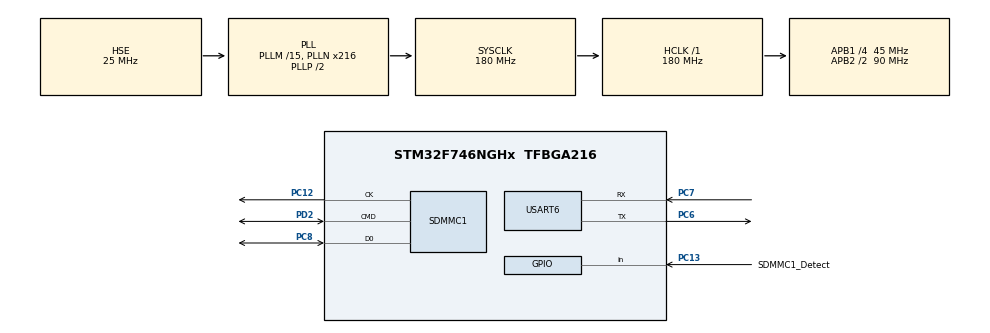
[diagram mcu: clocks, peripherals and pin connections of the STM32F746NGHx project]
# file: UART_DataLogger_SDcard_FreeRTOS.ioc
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Dma.Request0=SDMMC1_RX
Dma.Request1=SDMMC1_TX
Dma.SDMMC1_RX.0.Direction=DMA_PERIPH_TO_MEMORY
Dma.SDMMC1_RX.0.FIFOMode=DMA_FIFOMODE_ENABLE
Dma.SDMMC1_RX.0.FIFOThreshold=DMA_FIFO_THRESHOLD_FULL
Dma.SDMMC1_RX.0.Instance=DMA2_Stream3
Dma.SDMMC1_RX.0.MemBurst=DMA_MBURST_INC4
Dma.SDMMC1_RX.0.MemDataAlignment=DMA_MDATAALIGN_WORD
Dma.SDMMC1_RX.0.MemInc=DMA_MINC_ENABLE
Dma.SDMMC1_RX.0.Mode=DMA_PFCTRL
Dma.SDMMC1_RX.0.PeriphBurst=DMA_PBURST_INC4
Dma.SDMMC1_RX.0.PeriphDataAlignment=DMA_PDATAALIGN_WORD
Dma.SDMMC1_RX.0.PeriphInc=DMA_PINC_DISABLE
Dma.SDMMC1_RX.0.Priority=DMA_PRIORITY_LOW
Dma.SDMMC1_TX.1.Direction=DMA_MEMORY_TO_PERIPH
Dma.SDMMC1_TX.1.FIFOMode=DMA_FIFOMODE_ENABLE
Dma.SDMMC1_TX.1.FIFOThreshold=DMA_FIFO_THRESHOLD_FULL
Dma.SDMMC1_TX.1.Instance=DMA2_Stream6
Dma.SDMMC1_TX.1.MemBurst=DMA_MBURST_INC4
Dma.SDMMC1_TX.1.MemDataAlignment=DMA_MDATAALIGN_WORD
Dma.SDMMC1_TX.1.MemInc=DMA_MINC_ENABLE
Dma.SDMMC1_TX.1.Mode=DMA_PFCTRL
Dma.SDMMC1_TX.1.PeriphBurst=DMA_PBURST_INC4
Dma.SDMMC1_TX.1.PeriphDataAlignment=DMA_PDATAALIGN_WORD
Dma.SDMMC1_TX.1.PeriphInc=DMA_PINC_DISABLE
Dma.SDMMC1_TX.1.Priority=DMA_PRIORITY_LOW
FATFS.BSP.number=1
FATFS._MAX_SS=4096
FATFS0.BSP.STBoard=false
FATFS0.BSP.api=Unknown
FATFS0.BSP.instance=PC13
FATFS0.BSP.ip=GPIO
FATFS0.BSP.mode=Input
FATFS0.BSP.name=Detect_SDIO
FATFS0.BSP.solution=PC13
FREERTOS.Tasks01=defaultTask,0,1024,StartDefaultTask,Default,NULL,Dynamic,NULL,NULL
FREERTOS.configUSE_NEWLIB_REENTRANT=1
Mcu.Family=STM32F7
Mcu.Name=STM32F746NGHx
Mcu.Package=TFBGA216
NVIC.DMA2_Stream3_IRQn=true\:5\:0\:false\:false\:true\:true\:false\:true\:true
NVIC.DMA2_Stream6_IRQn=true\:5\:0\:false\:false\:true\:true\:false\:true\:true
NVIC.PriorityGroup=NVIC_PRIORITYGROUP_4
NVIC.SDMMC1_IRQn=true\:5\:0\:false\:false\:true\:true\:true\:true\:true
NVIC.TIM6_DAC_IRQn=true\:15\:0\:false\:false\:true\:false\:false\:true\:true
NVIC.TimeBase=TIM6_DAC_IRQn
NVIC.TimeBaseIP=TIM6
NVIC.USART6_IRQn=true\:5\:0\:false\:false\:true\:true\:true\:true\:true
PA13.Mode=Serial_Wire
PA13.Signal=SYS_JTMS-SWDIO
PA14.Mode=Serial_Wire
PA14.Signal=SYS_JTCK-SWCLK
PC12.Mode=SD_1_bit
PC12.Signal=SDMMC1_CK
PC13.GPIO_Label=SDMMC1_Detect
PC13.Signal=GPIO_Input
PC6.Mode=Asynchronous
PC6.Signal=USART6_TX
PC7.Mode=Asynchronous
PC7.Signal=USART6_RX
PC8.Mode=SD_1_bit
PC8.Signal=SDMMC1_D0
PD2.Mode=SD_1_bit
PD2.Signal=SDMMC1_CMD
PH0/OSC_IN.Mode=HSE-External-Oscillator
PH0/OSC_IN.Signal=RCC_OSC_IN
PH1/OSC_OUT.Mode=HSE-External-Oscillator
PH1/OSC_OUT.Signal=RCC_OSC_OUT
ProjectManager.HeapSize=0x2000
ProjectManager.StackSize=0x4000
ProjectManager.TargetToolchain=STM32CubeIDE
RCC.AHBFreq_Value=180000000
RCC.APB1CLKDivider=RCC_HCLK_DIV4
RCC.APB1Freq_Value=45000000
RCC.APB1TimFreq_Value=90000000
RCC.APB2CLKDivider=RCC_HCLK_DIV2
RCC.APB2Freq_Value=90000000
RCC.APB2TimFreq_Value=180000000
RCC.CortexFreq_Value=180000000
RCC.HCLKFreq_Value=180000000
RCC.HSE_VALUE=25000000
RCC.HSI_VALUE=16000000
RCC.LSE_VALUE=32768
RCC.PLLM=15
RCC.PLLN=216
RCC.PLLQ=15
RCC.PLLSourceVirtual=RCC_PLLSOURCE_HSE
RCC.SDMMCClockSelection=RCC_SDMMC1CLKSOURCE_CLK48
RCC.SYSCLKFreq_VALUE=180000000
RCC.SYSCLKSource=RCC_SYSCLKSOURCE_PLLCLK
RCC.USBFreq_Value=24000000
RCC.VCOOutputFreq_Value=360000000
USART6.VirtualMode-Asynchronous=VM_ASYNC
VP_FATFS_VS_SDIO.Mode=SDIO
VP_FREERTOS_VS_CMSIS_V1.Mode=CMSIS_V1
VP_SYS_VS_tim6.Mode=TIM6
board=custom

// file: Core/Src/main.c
/* USER CODE BEGIN Header */
/**
  ******************************************************************************
  * @file           : main.c
  * @brief          : Main program body
  ******************************************************************************
  * @attention
  *
  * Copyright (c) 2025 STMicroelectronics.
  * All rights reserved.
  *
  * This software is licensed under terms that can be found in the LICENSE file
  * in the root directory of this software component.
  * If no LICENSE file comes with this software, it is provided AS-IS.
  *
  ******************************************************************************
  */
/* USER CODE END Header */
#include "main.h"
#include "cmsis_os.h"
#include "fatfs.h"

/* USER CODE BEGIN Includes */
#include "SDCard_Configuration.h"
#include "stdio.h"
#include "string.h"
#include "stdbool.h"
/* USER CODE END Includes */

/* USER CODE BEGIN PTD */
typedef struct
{
	uint8_t* buffer;
	size_t size;
	size_t count;
	size_t head;
	size_t tail;
}FIFO_t;
/* USER CODE END PTD */

/* USER CODE BEGIN PD */
#define BUFFER_SIZE					200
/* USER CODE END PD */

SD_HandleTypeDef hsd1;
DMA_HandleTypeDef hdma_sdmmc1_rx;
DMA_HandleTypeDef hdma_sdmmc1_tx;

UART_HandleTypeDef huart6;

osThreadId defaultTaskHandle;
/* USER CODE BEGIN PV */
osThreadId 	 mainTaskHandle;
osThreadId 	 recordTaskHandle;

xSemaphoreHandle recDataSemaphore;
xSemaphoreHandle recordDataSemaphore;

uint8_t count = 0;
char sd_buffer[100];

uint8_t uart_rec = 0;
uint8_t uart_recCount = 0;
uint8_t uart_recBuffer[BUFFER_SIZE];

FIFO_t fifo;
uint8_t dxlBuffer[BUFFER_SIZE];
uint8_t dxlLog[BUFFER_SIZE];
/* USER CODE END PV */

void SystemClock_Config(void);
static void MX_GPIO_Init(void);
static void MX_DMA_Init(void);
static void MX_SDMMC1_SD_Init(void);
static void MX_USART6_UART_Init(void);
void StartDefaultTask(void const * argument);

/* USER CODE BEGIN PFP */
void StartMainTask(void const * argument);
void StartRecordTask(void const * argument);

void FIFO_init(FIFO_t* fifo);
bool FIFO_isEmpty(const FIFO_t* fifo);
bool FIFO_isFull(const FIFO_t* fifo);
bool FIFO_Enqueue(FIFO_t* fifo, uint8_t* data, uint8_t size);
bool FIFO_Dequeue(FIFO_t* fifo, uint8_t* data, uint8_t size);
uint8_t DXL_CheckSumCalc(uint8_t *packet);
/* USER CODE END PFP */

/* USER CODE BEGIN 0 */
int _write(int file, char *ptr, int len)
{
	int i = 0;
	for(i = 0; i < len; i++)
	{
		ITM_SendChar(*ptr++);
	}
	return len;
}
/* USER CODE END 0 */

int main(void)
{

  /* MCU Configuration--------------------------------------------------------*/

  /* Reset of all peripherals, Initializes the Flash interface and the Systick. */
  HAL_Init();

  /* Configure the system clock */
  SystemClock_Config();

  /* Initialize all configured peripherals */
  MX_GPIO_Init();
  MX_DMA_Init();
  MX_SDMMC1_SD_Init();
  MX_FATFS_Init();
  MX_USART6_UART_Init();
  /* USER CODE BEGIN 2 */

  HAL_UART_Receive_IT(&huart6, &uart_rec, 1);

  FIFO_init(&fifo);
  /* USER CODE END 2 */

  /* USER CODE BEGIN RTOS_SEMAPHORES */
  /* add semaphores, ... */
  recDataSemaphore = xSemaphoreCreateBinary();
  recordDataSemaphore = xSemaphoreCreateBinary();
  /* USER CODE END RTOS_SEMAPHORES */

  /* Create the thread(s) */
  /* definition and creation of defaultTask */
//  osThreadDef(defaultTask, StartDefaultTask, osPriorityNormal, 0, 1024);
//  defaultTaskHandle = osThreadCreate(osThread(defaultTask), NULL);

  /* USER CODE BEGIN RTOS_THREADS */
  /* add threads, ... */
  osThreadDef(mainTask, StartMainTask, osPriorityNormal, 0, 1024);
  mainTaskHandle = osThreadCreate(osThread(mainTask), NULL);

  osThreadDef(recordTask, StartRecordTask, osPriorityNormal, 0, 1024);
  recordTaskHandle = osThreadCreate(osThread(recordTask), NULL);
  /* USER CODE END RTOS_THREADS */

  /* Start scheduler */
  osKernelStart();

  /* We should never get here as control is now taken by the scheduler */

  /* Infinite loop */
  while (1)
  {

    /* USER CODE BEGIN 3 */
//	  count++;
//	  printf("Hello count = %d \n", count);
//	  HAL_Delay(1000);
  }
  /* USER CODE END 3 */
}

void SystemClock_Config(void)
{
  RCC_OscInitTypeDef RCC_OscInitStruct = {0};
  RCC_ClkInitTypeDef RCC_ClkInitStruct = {0};

  /** Configure the main internal regulator output voltage
  */
  __HAL_RCC_PWR_CLK_ENABLE();
  __HAL_PWR_VOLTAGESCALING_CONFIG(PWR_REGULATOR_VOLTAGE_SCALE1);

  /** Initializes the RCC Oscillators according to the specified parameters
  * in the RCC_OscInitTypeDef structure.
  */
  RCC_OscInitStruct.OscillatorType = RCC_OSCILLATORTYPE_HSE;
  RCC_OscInitStruct.HSEState = RCC_HSE_ON;
  RCC_OscInitStruct.PLL.PLLState = RCC_PLL_ON;
  RCC_OscInitStruct.PLL.PLLSource = RCC_PLLSOURCE_HSE;
  RCC_OscInitStruct.PLL.PLLM = 15;
  RCC_OscInitStruct.PLL.PLLN = 216;
  RCC_OscInitStruct.PLL.PLLP = RCC_PLLP_DIV2;
  RCC_OscInitStruct.PLL.PLLQ = 15;
  if (HAL_RCC_OscConfig(&RCC_OscInitStruct) != HAL_OK)
  {
    Error_Handler();
  }

  /** Initializes the CPU, AHB and APB buses clocks
  */
  RCC_ClkInitStruct.ClockType = RCC_CLOCKTYPE_HCLK|RCC_CLOCKTYPE_SYSCLK
                              |RCC_CLOCKTYPE_PCLK1|RCC_CLOCKTYPE_PCLK2;
  RCC_ClkInitStruct.SYSCLKSource = RCC_SYSCLKSOURCE_PLLCLK;
  RCC_ClkInitStruct.AHBCLKDivider = RCC_SYSCLK_DIV1;
  RCC_ClkInitStruct.APB1CLKDivider = RCC_HCLK_DIV4;
  RCC_ClkInitStruct.APB2CLKDivider = RCC_HCLK_DIV2;

  if (HAL_RCC_ClockConfig(&RCC_ClkInitStruct, FLASH_LATENCY_5) != HAL_OK)
  {
    Error_Handler();
  }
}

static void MX_SDMMC1_SD_Init(void)
{

  hsd1.Instance = SDMMC1;
  hsd1.Init.ClockEdge = SDMMC_CLOCK_EDGE_RISING;
  hsd1.Init.ClockBypass = SDMMC_CLOCK_BYPASS_DISABLE;
  hsd1.Init.ClockPowerSave = SDMMC_CLOCK_POWER_SAVE_DISABLE;
  hsd1.Init.BusWide = SDMMC_BUS_WIDE_1B;
  hsd1.Init.HardwareFlowControl = SDMMC_HARDWARE_FLOW_CONTROL_DISABLE;
  hsd1.Init.ClockDiv = 0;

}

static void MX_USART6_UART_Init(void)
{

  huart6.Instance = USART6;
  huart6.Init.BaudRate = 115200;
  huart6.Init.WordLength = UART_WORDLENGTH_8B;
  huart6.Init.StopBits = UART_STOPBITS_1;
  huart6.Init.Parity = UART_PARITY_NONE;
  huart6.Init.Mode = UART_MODE_TX_RX;
  huart6.Init.HwFlowCtl = UART_HWCONTROL_NONE;
  huart6.Init.OverSampling = UART_OVERSAMPLING_16;
  huart6.Init.OneBitSampling = UART_ONE_BIT_SAMPLE_DISABLE;
  huart6.AdvancedInit.AdvFeatureInit = UART_ADVFEATURE_NO_INIT;
  if (HAL_UART_Init(&huart6) != HAL_OK)
  {
    Error_Handler();
  }

}

static void MX_DMA_Init(void)
{

  /* DMA controller clock enable */
  __HAL_RCC_DMA2_CLK_ENABLE();

  /* DMA interrupt init */
  /* DMA2_Stream3_IRQn interrupt configuration */
  HAL_NVIC_SetPriority(DMA2_Stream3_IRQn, 5, 0);
  HAL_NVIC_EnableIRQ(DMA2_Stream3_IRQn);
  /* DMA2_Stream6_IRQn interrupt configuration */
  HAL_NVIC_SetPriority(DMA2_Stream6_IRQn, 5, 0);
  HAL_NVIC_EnableIRQ(DMA2_Stream6_IRQn);

}

static void MX_GPIO_Init(void)
{
  GPIO_InitTypeDef GPIO_InitStruct = {0};

  /* GPIO Ports Clock Enable */
  __HAL_RCC_GPIOC_CLK_ENABLE();
  __HAL_RCC_GPIOA_CLK_ENABLE();
  __HAL_RCC_GPIOD_CLK_ENABLE();
  __HAL_RCC_GPIOH_CLK_ENABLE();

  /*Configure GPIO pin : SDMMC1_Detect_Pin */
  GPIO_InitStruct.Pin = SDMMC1_Detect_Pin;
  GPIO_InitStruct.Mode = GPIO_MODE_INPUT;
  GPIO_InitStruct.Pull = GPIO_NOPULL;
  HAL_GPIO_Init(SDMMC1_Detect_GPIO_Port, &GPIO_InitStruct);

}

/* USER CODE BEGIN 4 */
void HAL_UART_RxCpltCallback(UART_HandleTypeDef *huart)
{
	if(HAL_UART_Receive_IT(&huart6, &uart_rec, 1) == HAL_OK)
	{
		osSemaphoreRelease(recDataSemaphore);
	}
}
//<---- -------------------------------------------------------- ---->

void FIFO_init(FIFO_t* fifo)
{
	fifo->head = 0;
	fifo->tail = 0;
	fifo->count = 0;
}
//<---- -------------------------------------------------------- ---->

bool FIFO_isEmpty(const FIFO_t* fifo)
{
	return (fifo->count == 0);
}
//<---- -------------------------------------------------------- ---->

bool FIFO_isFull(const FIFO_t* fifo)
{
	return (fifo->count == BUFFER_SIZE);
}
//<---- -------------------------------------------------------- ---->

bool FIFO_Enqueue(FIFO_t* fifo, uint8_t* data, uint8_t size)
{
	if((fifo->count + size) > BUFFER_SIZE)
		return false;

	for(uint8_t i = 0; i < size; i++)
	{
		fifo->buffer[fifo->tail] = data[i];
		fifo->tail = (fifo->tail + 1) % BUFFER_SIZE;
	}
	fifo->count += size;

	return true;
}
//<---- -------------------------------------------------------- ---->

bool FIFO_Dequeue(FIFO_t* fifo, uint8_t* data, uint8_t size)
{
	if(fifo->count < size)
		return false;

	for(uint8_t i = 0; i < size; i++)
	{
		data[i] = fifo->buffer[fifo->head];
		fifo->head = (fifo->head + 1) % BUFFER_SIZE;
	}
	fifo->count -= size;

	return true;
}
//<---- -------------------------------------------------------- ---->

uint8_t DXL_CheckSumCalc(uint8_t *packet)
{
	uint8_t checksum = 0;

	for(uint8_t i = 2; i < packet[3] + 3; i++)
	{
		checksum += packet[i];
	}
	checksum =~ checksum;

	return checksum;
}
/* USER CODE END 4 */

/* USER CODE BEGIN Header_StartDefaultTask */
/**
  * @brief  Function implementing the defaultTask thread.
  * @param  argument: Not used
  * @retval None
  */
void StartMainTask(void const * argument)
{
	for(;;)
	{
		osSemaphoreWait(recDataSemaphore, osWaitForever);

		uart_recBuffer[uart_recCount++] = uart_rec;
		if(uart_recBuffer[3] > 2 && uart_recCount == (uart_recBuffer[3] + 4))
		{
			FIFO_Enqueue(&fifo, uart_recBuffer, uart_recCount);
			// ToDo: SendOut to DXL
			osSemaphoreRelease(recordDataSemaphore);
		}
	}
}
//<---- -------------------------------------------------------- ---->
void StartRecordTask(void const * argument)
{
	uint8_t dxlLog[BUFFER_SIZE];

	for(;;)
	{
		osSemaphoreWait(recordDataSemaphore, osWaitForever);
		FIFO_Dequeue(&fifo, dxlLog, uart_recCount);
		count++;

		Mount_SD(SDPath);
		// Format_SD();
		Check_SD_Space();
		Create_File("MRL.txt");
		sprintf(sd_buffer, "Hello MRL ----> %d\n", count);
		Update_File("MRL.txt", sd_buffer);

		sprintf(sd_buffer, "Packet ----> ");
		for(uint8_t i = 0; i < uart_recCount; i++)
		{
			char byte_str[uart_recCount];

			sprintf(byte_str, "%02X ", dxlLog[i]);
			strcat(sd_buffer, byte_str);
		}

		strcat(sd_buffer, "\n");
		Update_File("MRL.txt", sd_buffer);
		Unmount_SD(SDPath);

		uart_recCount = 0;
		memset(&fifo, 0, sizeof(FIFO_t));
	}
}
/* USER CODE END Header_StartDefaultTask */
void StartDefaultTask(void const * argument)
{
  for(;;)
  {
    osDelay(1);
  }
}

void HAL_TIM_PeriodElapsedCallback(TIM_HandleTypeDef *htim)
{
  if (htim->Instance == TIM6) {
    HAL_IncTick();
  }
}

void Error_Handler(void)
{
  __disable_irq();
  while (1)
  {
  }
}
